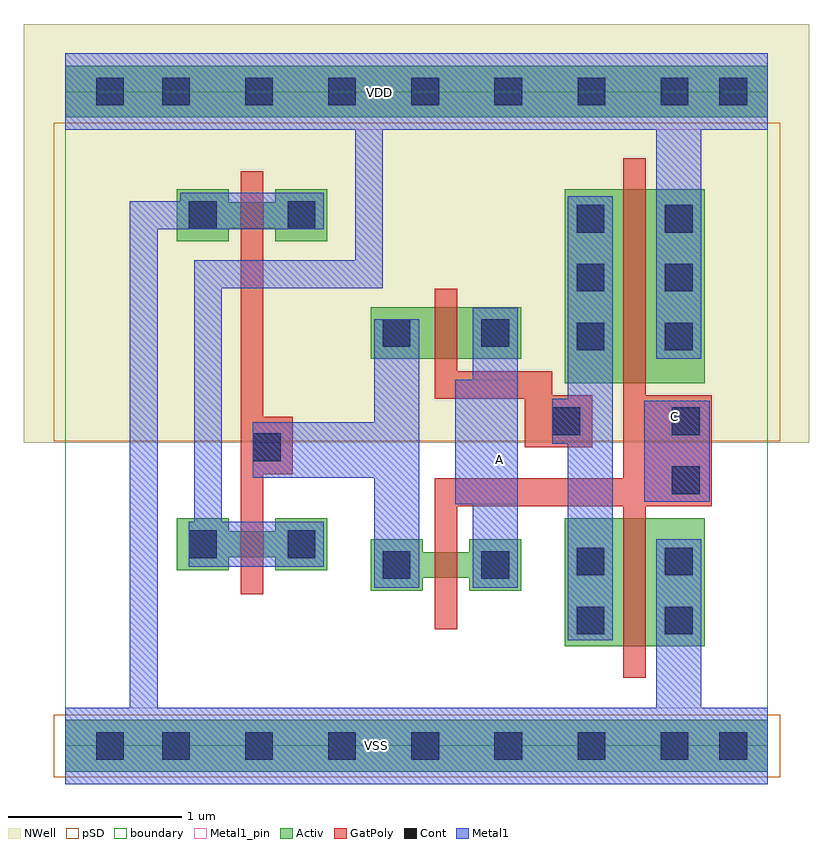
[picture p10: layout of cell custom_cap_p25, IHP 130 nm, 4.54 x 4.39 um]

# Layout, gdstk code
import gdstk
lib = gdstk.Library(unit=1e-6, precision=1e-09)
def R(c, l, rs):  # rectangles x0, y0, x1, y1
    for r in rs: c.add(gdstk.rectangle(r[:2], r[2:], *l))
def A(c, l, x, y, w, h, nx, ny, dx, dy):  # array of equal rectangles
    R(c, l, [(x+i*dx, y+j*dy, x+i*dx+w, y+j*dy+h) for i in range(nx) for j in range(ny)])
def P(c, l, *ps):  # polygons
    for p in ps: c.add(gdstk.Polygon(p, *l))
Activ = (1, 0)
GatPoly = (5, 0)
Cont = (6, 0)
Metal1 = (8, 0)
Metal1_pin = (8, 2)
pSD = (14, 0)
NWell = (31, 0)
boundary = (189, 4)

custom_cap_p25 = lib.new_cell('custom_cap_p25')
R(custom_cap_p25, Activ, [(0,-0.15,4.06,0.15), (2.885,0.575,3.695,1.315), (2.885,2.095,3.695,3.215), (1.765,2.235,2.635,2.535), (0,3.63,4.06,3.93)])
P(custom_cap_p25, Activ, [(1.765,0.895),(1.765,1.195),(2.065,1.195),(2.065,1.12),(2.335,1.12),(2.335,1.195),(2.635,1.195),(2.635,0.895),(2.335,0.895),(2.335,0.97),(2.065,0.97),(2.065,0.895)],
  [(0.645,1.015),(0.645,1.315),(0.945,1.315),(0.945,1.24),(1.215,1.24),(1.215,1.315),(1.515,1.315),(1.515,1.015),(1.215,1.015),(1.215,1.09),(0.945,1.09),(0.945,1.015)],
  [(0.645,2.915),(0.645,3.215),(0.945,3.215),(0.945,3.14),(1.215,3.14),(1.215,3.215),(1.515,3.215),(1.515,2.915),(1.215,2.915),(1.215,2.99),(0.945,2.99),(0.945,2.915)])
P(custom_cap_p25, GatPoly, [(1.015,0.875),(1.015,3.32),(1.145,3.32),(1.145,1.9),(1.315,1.9),(1.315,1.57),(1.145,1.57),(1.145,0.875)],
  [(2.655,1.725),(2.655,2.005),(2.135,2.005),(2.135,2.64),(2.265,2.64),(2.265,2.165),(2.815,2.165),(2.815,2.025),(3.045,2.025),(3.045,1.725)],
  [(3.225,0.395),(3.225,1.385),(2.265,1.385),(2.265,0.675),(2.135,0.675),(2.135,1.545),(3.225,1.545),(3.225,3.395),(3.355,3.395),(3.355,2.025),(3.735,2.025),(3.735,1.385),(3.355,1.385),(3.355,0.395)])
A(custom_cap_p25, Cont, 2.955, 2.285, 0.16, 0.16, 1, 3, 0, 0.34)
A(custom_cap_p25, Cont, 3.465, 2.285, 0.16, 0.16, 1, 3, 0, 0.34)
R(custom_cap_p25, Cont, [(0.18,-0.08,0.34,0.08), (0.56,-0.08,0.72,0.08), (0.56,-0.08,0.72,0.08), (1.04,-0.08,1.2,0.08), (1.04,-0.08,1.2,0.08), (1.52,-0.08,1.68,0.08), (1.52,-0.08,1.68,0.08), (2,-0.08,2.16,0.08), (2,-0.08,2.16,0.08), (2.48,-0.08,2.64,0.08), (2.48,-0.08,2.64,0.08), (2.96,-0.08,3.12,0.08), (2.96,-0.08,3.12,0.08), (3.44,-0.08,3.6,0.08), (3.44,-0.08,3.6,0.08), (3.78,-0.08,3.94,0.08), (3.78,-0.08,3.94,0.08), (2.955,0.645,3.115,0.805), (3.465,0.645,3.625,0.805), (1.835,0.965,1.995,1.125), (2.405,0.965,2.565,1.125), (2.955,0.985,3.115,1.145), (3.465,0.985,3.625,1.145), (0.715,1.085,0.875,1.245), (1.285,1.085,1.445,1.245), (3.505,1.455,3.665,1.615), (1.085,1.645,1.245,1.805), (2.815,1.795,2.975,1.955), (3.505,1.795,3.665,1.955), (1.835,2.305,1.995,2.465), (2.405,2.305,2.565,2.465), (0.715,2.985,0.875,3.145), (1.285,2.985,1.445,3.145), (0.18,3.7,0.34,3.86), (0.56,3.7,0.72,3.86), (0.56,3.7,0.72,3.86), (1.04,3.7,1.2,3.86), (1.04,3.7,1.2,3.86), (1.52,3.7,1.68,3.86), (1.52,3.7,1.68,3.86), (2,3.7,2.16,3.86), (2,3.7,2.16,3.86), (2.48,3.7,2.64,3.86), (2.48,3.7,2.64,3.86), (2.96,3.7,3.12,3.86), (2.96,3.7,3.12,3.86), (3.44,3.7,3.6,3.86), (3.44,3.7,3.6,3.86), (3.78,3.7,3.94,3.86), (3.78,3.7,3.94,3.86)])
R(custom_cap_p25, Metal1, [(3.345,1.41,3.725,1.995)])
P(custom_cap_p25, Metal1, [(0,-0.22),(0,0.22),(0.375,0.22),(0.375,3.145),(0.665,3.145),(0.665,3.195),(1.495,3.195),(1.495,2.985),(0.535,2.985),(0.535,0.22),(3.415,0.22),(3.415,1.195),(3.675,1.195),(3.675,0.22),(4.06,0.22),(4.06,-0.22)],
  [(0.715,1.035),(0.715,1.295),(0.745,1.295),(0.745,2.805),(1.675,2.805),(1.675,3.56),(0,3.56),(0,4),(4.06,4),(4.06,3.56),(3.675,3.56),(3.675,2.235),(3.415,2.235),(3.415,3.56),(1.835,3.56),(1.835,2.645),(0.905,2.645),(0.905,1.295),(1.495,1.295),(1.495,1.035)],
  [(1.785,0.915),(1.785,1.55),(1.085,1.55),(1.085,1.87),(1.785,1.87),(1.785,2.465),(2.045,2.465),(2.045,0.915)],
  [(2.355,0.915),(2.355,1.395),(2.255,1.395),(2.255,2.115),(2.355,2.115),(2.355,2.53),(2.615,2.53),(2.615,0.915)],
  [(2.905,0.61),(2.905,1.745),(2.815,1.745),(2.815,2.005),(2.905,2.005),(2.905,3.175),(3.165,3.175),(3.165,0.61)])
R(custom_cap_p25, Metal1_pin, [(0,-0.22,4.06,0.22), (2.255,1.395,2.615,2.115), (3.345,1.41,3.725,1.995), (0,3.56,4.06,4)])
R(custom_cap_p25, pSD, [(-0.065,-0.18,4.13,0.18), (-0.065,1.76,4.13,3.6)])
R(custom_cap_p25, NWell, [(-0.24,1.75,4.3,4.17)])
R(custom_cap_p25, boundary, [(0,0,4.06,3.78)])
custom_cap_p25.add(gdstk.Label('C', (3.52,1.9), layer=8, texttype=25))
custom_cap_p25.add(gdstk.Label('A', (2.51,1.655), layer=8, texttype=25))
custom_cap_p25.add(gdstk.Label('VSS', (1.8,0.005), layer=8, texttype=25))
custom_cap_p25.add(gdstk.Label('VDD', (1.815,3.775), layer=8, texttype=25))

lib.write_gds('custom_cap_p25.gds')
